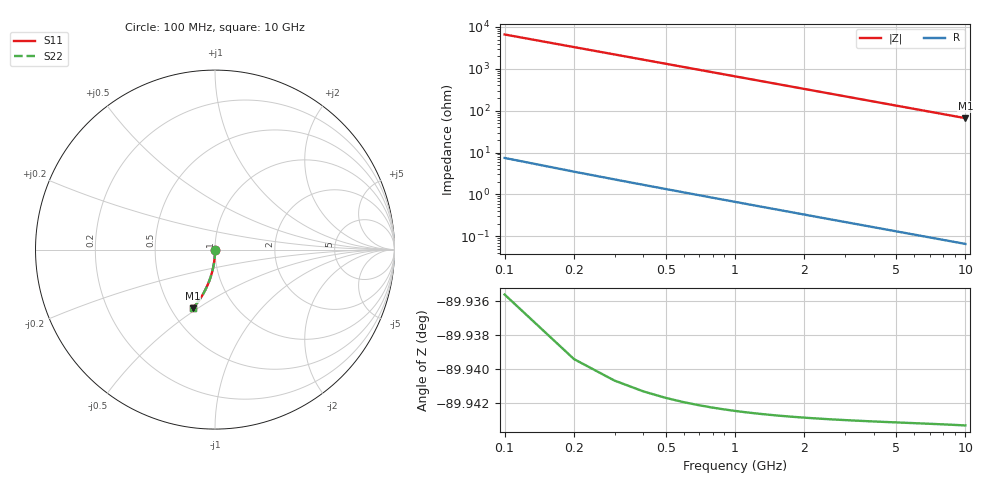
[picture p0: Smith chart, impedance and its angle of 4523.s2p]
# Hz S RI R 50.00
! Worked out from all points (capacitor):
!   100 points, 100 MHz to 10 GHz, reference 50 ohm
!   read as one part in shunt: C = 241 fF near 100 MHz
!   lowest |Z| = 66.3 ohm at 10 GHz (marker M1)
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1e8  -5.81e-06 -0.00376  1 -0.0038  1 -0.0038  -5.81e-06 -0.00376
2e8  -5.24e-05 -0.00753  0.9999 -0.0076  0.9999 -0.0076  -5.24e-05 -0.00753
3e8  -0.000128 -0.0113  0.9998 -0.0114  0.9998 -0.0114  -0.000128 -0.0113
4e8  -0.000231 -0.015  0.9997 -0.0152  0.9997 -0.0152  -0.000231 -0.015
5e8  -0.000364 -0.0188  0.9996 -0.019  0.9996 -0.019  -0.000364 -0.0188
6e8  -0.000525 -0.0226  0.9994 -0.0228  0.9994 -0.0228  -0.000525 -0.0226
7e8  -0.000714 -0.0263  0.9993 -0.0266  0.9993 -0.0266  -0.000714 -0.0263
8e8  -0.000932 -0.0301  0.999 -0.0304  0.999 -0.0304  -0.000932 -0.0301
9e8  -0.00118 -0.0338  0.9988 -0.0342  0.9988 -0.0342  -0.00118 -0.0338
1.1e9  -0.00176 -0.0413  0.9982 -0.0417  0.9982 -0.0417  -0.00176 -0.0413
1.4e9  -0.00283 -0.0525  0.9971 -0.053  0.9971 -0.053  -0.00283 -0.0525
1.8e9  -0.00466 -0.0674  0.9953 -0.0681  0.9953 -0.0681  -0.00466 -0.0674
2.1e9  -0.00633 -0.0785  0.9936 -0.0793  0.9936 -0.0793  -0.00633 -0.0785
2.5e9  -0.00893 -0.0932  0.991 -0.0941  0.991 -0.0941  -0.00893 -0.0932
2.9e9  -0.012 -0.1078  0.988 -0.1088  0.988 -0.1088  -0.012 -0.1078
3.4e9  -0.0164 -0.1258  0.9836 -0.127  0.9836 -0.127  -0.0164 -0.1258
4.2e9  -0.0247 -0.154  0.9753 -0.1556  0.9753 -0.1556  -0.0247 -0.154
5.1e9  -0.036 -0.1848  0.964 -0.1867  0.964 -0.1867  -0.036 -0.1848
5.9e9  -0.0475 -0.2111  0.9525 -0.2133  0.9525 -0.2133  -0.0475 -0.2111
6.7e9  -0.0604 -0.2364  0.9396 -0.2389  0.9396 -0.2389  -0.0604 -0.2364
8.4e9  -0.0915 -0.2863  0.9084 -0.2895  0.9084 -0.2895  -0.0915 -0.2863
1e10  -0.1248 -0.3281  0.8752 -0.3319  0.8752 -0.3319  -0.1248 -0.3281
